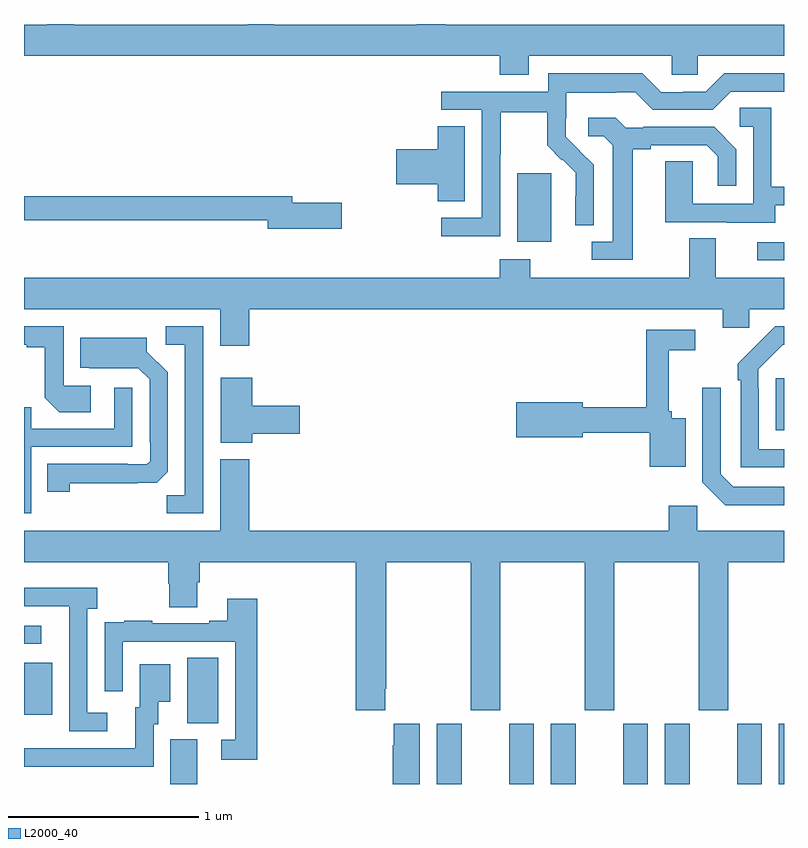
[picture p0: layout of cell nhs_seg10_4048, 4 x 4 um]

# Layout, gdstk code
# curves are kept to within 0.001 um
import gdstk
lib = gdstk.Library(unit=1e-6, precision=1e-09)
def R(c, l, rs):  # rectangles x0, y0, x1, y1
    for r in rs: c.add(gdstk.rectangle(r[:2], r[2:], *l))
def P(c, l, *ps):  # polygons
    for p in ps: c.add(gdstk.Polygon(p, *l))
L2000_40 = (2000, 40)

nhs_seg10_4048 = lib.new_cell('nhs_seg10_4048')
R(nhs_seg10_4048, L2000_40, [(335.771,1280.5,335.911,1280.736), (337.172,1280.5,337.303,1280.818), (337.553,1280.5,337.684,1280.818), (337.772,1280.5,337.903,1280.818), (338.153,1280.5,338.284,1280.818), (338.372,1280.5,338.503,1280.818), (338.753,1280.5,338.884,1280.818), (338.972,1280.5,339,1280.818), (335.858,1280.821,336.022,1281.164), (335,1280.865,335.149,1281.139), (335,1281.237,335.092,1281.333), (338.957,1282.361,339,1282.636), (338.859,1283.256,339,1283.352), (337.595,1283.354,337.774,1283.715)])
P(nhs_seg10_4048, L2000_40, [(337.657,1284.332),(338.409,1284.332),(338.409,1284.234),(338.547,1284.234),(338.547,1284.332),(339,1284.332),(339,1284.496),(337.22,1284.496),(337.22,1284.5),(337.067,1284.5),(337.067,1284.496),(336.315,1284.496),(336.315,1284.5),(336.177,1284.5),(336.177,1284.496),(335.263,1284.496),(335.263,1284.5),(335.123,1284.5),(335.123,1284.496),(335,1284.496),(335,1284.332),(337.505,1284.332),(337.505,1284.233),(337.657,1284.233)],
  [(337.506,1283.812),(337.509,1283.812),(337.509,1284.036),(337.753,1284.036),(337.753,1283.861),(337.83,1283.784),(337.833,1283.787),(337.904,1283.717),(337.904,1283.594),(337.902,1283.594),(337.902,1283.44),(337.998,1283.44),(337.998,1283.758),(337.852,1283.906),(337.852,1284.003),(337.854,1284.003),(337.854,1284.137),(338.117,1284.137),(338.117,1284.141),(338.217,1284.141),(338.31,1284.048),(338.625,1284.048),(338.721,1284.144),(339,1284.144),(339,1284.24),(338.685,1284.24),(338.589,1284.144),(338.471,1284.144),(338.471,1284.141),(338.355,1284.141),(338.255,1284.241),(337.758,1284.241),(337.758,1284.144),(337.197,1284.144),(337.197,1284.048),(337.41,1284.048),(337.41,1283.481),(337.197,1283.481),(337.197,1283.383),(337.506,1283.383)],
  [(338.953,1283.547),(339,1283.547),(339,1283.643),(338.934,1283.643),(338.934,1284.059),(338.766,1284.059),(338.766,1283.958),(338.838,1283.958),(338.838,1283.553),(338.52,1283.553),(338.52,1283.777),(338.375,1283.777),(338.375,1283.457),(338.699,1283.457),(338.699,1283.453),(338.953,1283.453)],
  [(338.203,1283.84),(338.299,1283.84),(338.299,1283.862),(338.594,1283.862),(338.651,1283.805),(338.651,1283.649),(338.748,1283.649),(338.748,1283.842),(338.632,1283.958),(338.26,1283.958),(338.26,1283.955),(338.166,1283.955),(338.114,1284.007),(337.971,1284.007),(337.971,1283.91),(338.052,1283.91),(338.099,1283.863),(338.099,1283.355),(337.989,1283.355),(337.989,1283.259),(338.203,1283.259)],
  [(337.321,1283.963),(337.178,1283.963),(337.178,1283.84),(336.96,1283.84),(336.96,1283.657),(337.178,1283.657),(337.178,1283.566),(337.321,1283.566)],
  [(336.673,1283.558),(336.412,1283.558),(336.412,1283.594),(335,1283.594),(335,1283.466),(336.284,1283.466),(336.284,1283.423),(336.673,1283.423)],
  [(336.185,1283),(338.678,1283),(338.678,1282.902),(338.817,1282.902),(338.817,1283),(339,1283),(339,1283.164),(338.641,1283.164),(338.641,1283.372),(338.501,1283.372),(338.501,1283.164),(337.665,1283.164),(337.665,1283.263),(337.505,1283.263),(337.505,1283.164),(335,1283.164),(335,1283),(336.032,1283),(336.032,1282.806),(336.185,1282.806)],
  [(335.35,1282.596),(335.208,1282.596),(335.208,1282.908),(335,1282.908),(335,1282.812),(335.015,1282.812),(335.015,1282.8),(335.109,1282.8),(335.109,1282.532),(335.185,1282.456),(335.35,1282.456)],
  [(335.943,1282.908),(335.745,1282.908),(335.745,1282.812),(335.847,1282.812),(335.847,1282.019),(335.752,1282.019),(335.752,1281.924),(335.943,1281.924)],
  [(339,1282.263),(338.868,1282.263),(338.868,1282.583),(338.865,1282.583),(338.865,1282.683),(338.994,1282.812),(339,1282.812),(339,1282.908),(338.954,1282.908),(338.757,1282.713),(338.757,1282.625),(338.772,1282.625),(338.772,1282.167),(339,1282.167)],
  [(338.482,1282.426),(338.41,1282.426),(338.41,1282.461),(338.393,1282.461),(338.393,1282.782),(338.533,1282.782),(338.533,1282.89),(338.275,1282.89),(338.275,1282.484),(337.942,1282.484),(337.942,1282.508),(337.59,1282.508),(337.59,1282.325),(337.942,1282.325),(337.942,1282.348),(338.294,1282.348),(338.294,1282.169),(338.482,1282.169)],
  [(335.241,1282.084),(335.698,1282.085),(335.757,1282.144),(335.757,1282.666),(335.647,1282.776),(335.647,1282.849),(335.297,1282.849),(335.297,1282.691),(335.341,1282.691),(335.344,1282.688),(335.601,1282.689),(335.661,1282.629),(335.661,1282.3),(335.664,1282.3),(335.664,1282.2),(335.646,1282.182),(335.546,1282.182),(335.546,1282.185),(335.122,1282.185),(335.122,1282.038),(335.241,1282.038)],
  [(336.202,1282.343),(336.451,1282.343),(336.451,1282.49),(336.202,1282.49),(336.202,1282.639),(336.035,1282.639),(336.035,1282.295),(336.202,1282.295)],
  [(339,1282.065),(338.733,1282.065),(338.667,1282.131),(338.667,1282.585),(338.571,1282.585),(338.571,1282.089),(338.692,1281.968),(339,1281.968)],
  [(335.037,1282.275),(335.571,1282.275),(335.571,1282.585),(335.475,1282.585),(335.475,1282.371),(335.039,1282.371),(335.039,1282.484),(335,1282.484),(335,1281.924),(335.037,1281.924)],
  [(336.901,1281.001),(336.906,1281.001),(336.906,1281.668),(337.351,1281.668),(337.351,1280.889),(337.506,1280.889),(337.506,1281.668),(337.951,1281.668),(337.951,1280.889),(338.106,1280.889),(338.106,1281.668),(338.551,1281.668),(338.551,1280.889),(338.706,1280.889),(338.706,1281.668),(339,1281.668),(339,1281.832),(338.544,1281.832),(338.544,1281.964),(338.393,1281.964),(338.393,1281.832),(336.185,1281.832),(336.185,1282.21),(336.032,1282.21),(336.032,1281.832),(335,1281.832),(335,1281.668),(335.759,1281.668),(335.759,1281.555),(335.764,1281.555),(335.764,1281.43),(335.911,1281.43),(335.911,1281.562),(335.924,1281.562),(335.924,1281.668),(336.746,1281.668),(336.746,1280.889),(336.901,1280.889)],
  [(335.437,1280.874),(335.334,1280.874),(335.334,1281.422),(335.386,1281.422),(335.386,1281.532),(335,1281.532),(335,1281.435),(335.237,1281.435),(335.237,1281.235),(335.238,1281.235),(335.238,1280.778),(335.437,1280.778)],
  [(336.227,1281.475),(336.071,1281.475),(336.071,1281.358),(335.975,1281.358),(335.975,1281.345),(335.675,1281.345),(335.675,1281.358),(335.527,1281.358),(335.527,1281.351),(335.425,1281.351),(335.425,1281.242),(335.424,1281.242),(335.424,1280.988),(335.52,1280.988),(335.52,1281.249),(336.111,1281.249),(336.111,1280.733),(336.039,1280.733),(336.039,1280.628),(336.227,1280.628)],
  [(335.682,1280.814),(335.707,1280.814),(335.707,1280.933),(335.77,1280.933),(335.77,1281.13),(335.609,1281.13),(335.609,1280.904),(335.585,1280.904),(335.585,1280.688),(335.101,1280.688),(335.101,1280.689),(335,1280.689),(335,1280.592),(335.682,1280.592)],
  [(337.084,1280.818),(336.947,1280.818),(336.947,1280.705),(336.941,1280.705),(336.941,1280.5),(337.084,1280.5)])

lib.write_gds('nhs_seg10_4048.gds')
